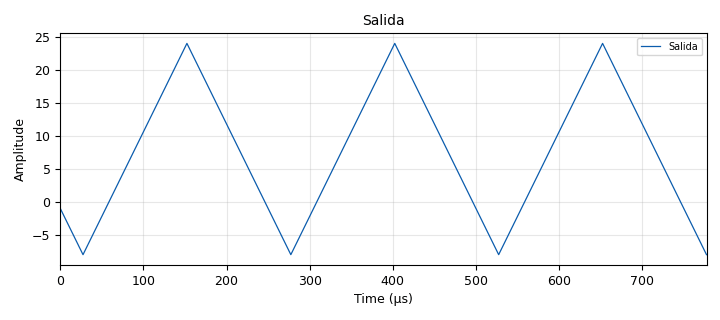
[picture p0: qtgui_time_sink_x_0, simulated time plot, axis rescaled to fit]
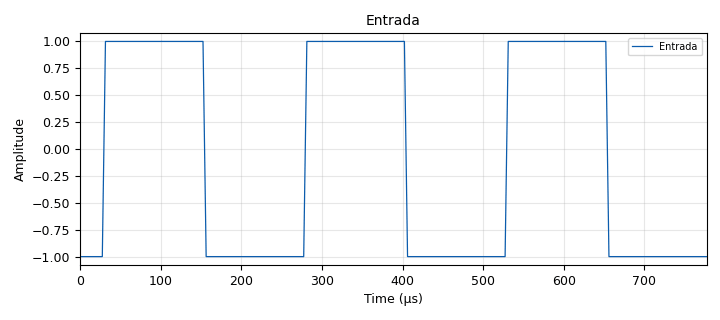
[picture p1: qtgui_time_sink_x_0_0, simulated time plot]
options:
  parameters:
    author: A1G
    generate_options: qt_gui
    id: Práctica_1
    output_language: python
    title: Acomulador
  states: {}

blocks:
- name: samp_rate
  id: variable
  parameters:
    value: '256000'
  states: {}
- name: blocks_throttle2_0
  id: blocks_throttle2
  parameters:
    samples_per_second: samp_rate
    type: float
  states: {}
- name: blocks_vector_source_x_0
  id: blocks_vector_source_x
  parameters:
    repeat: 'True'
    type: float
    vector: (1, 1, 1, 1,1, 1, 1, 1,1, 1, 1, 1,1, 1, 1, 1,1, 1, 1, 1,1, 1, 1, 1,1, 1, 1, 1,1, 1, 1, 1,-1, -1, -1, -1,-1, -1, -1, -1,-1, -1, -1, -1,-1, -1, -1, -1,-1, -1, -1, -1,-1, -1, -1, -1,-1, -1, -1, -1,-1, -1, -1, -1)
  states: {}
- name: epy_block_0_0_0
  id: epy_block
  parameters:
    _source_code: |
      import numpy as np
      from gnuradio import gr


      class blk(gr.sync_block):
          def __init__(self):
              super().__init__(
                  name='e_Acum',
                  in_sig=[np.float32],
                  out_sig=[np.float32]
              )

          def work(self, input_items, output_items):
              x = input_items[0]
              y0 = output_items[0]

              y0[:] = np.cumsum(x)

              return len(y0)
  states: {}
- name: qtgui_time_sink_x_0
  id: qtgui_time_sink_x
  parameters:
    label1: Salida
    name: '"Salida"'
    size: '200'
    srate: samp_rate
    type: float
  states: {}
- name: qtgui_time_sink_x_0_0
  id: qtgui_time_sink_x
  parameters:
    label1: Entrada
    name: '"Entrada"'
    size: '200'
    srate: samp_rate
    type: float
  states: {}

connections:
- [blocks_throttle2_0, '0', qtgui_time_sink_x_0, '0']
- [blocks_vector_source_x_0, '0', epy_block_0_0_0, '0']
- [blocks_vector_source_x_0, '0', qtgui_time_sink_x_0_0, '0']
- [epy_block_0_0_0, '0', blocks_throttle2_0, '0']

metadata:
  file_format: 1
  grc_version: 3.10.12.0
